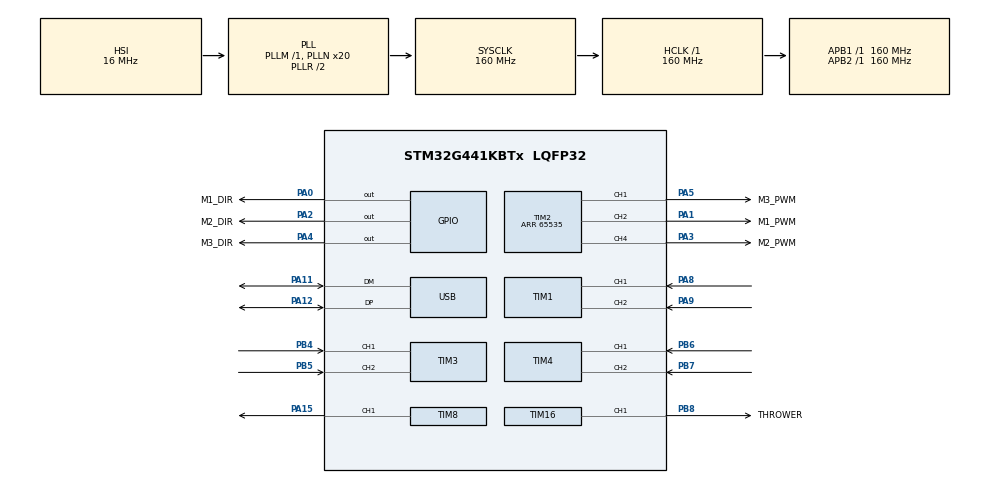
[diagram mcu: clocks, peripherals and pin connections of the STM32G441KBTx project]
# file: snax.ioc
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Dma.Request0=TIM8_CH1
Dma.TIM8_CH1.0.Direction=DMA_MEMORY_TO_PERIPH
Dma.TIM8_CH1.0.EventEnable=DISABLE
Dma.TIM8_CH1.0.Instance=DMA1_Channel1
Dma.TIM8_CH1.0.MemDataAlignment=DMA_MDATAALIGN_HALFWORD
Dma.TIM8_CH1.0.MemInc=DMA_MINC_ENABLE
Dma.TIM8_CH1.0.Mode=DMA_NORMAL
Dma.TIM8_CH1.0.PeriphDataAlignment=DMA_PDATAALIGN_HALFWORD
Dma.TIM8_CH1.0.PeriphInc=DMA_PINC_DISABLE
Dma.TIM8_CH1.0.Polarity=HAL_DMAMUX_REQ_GEN_RISING
Dma.TIM8_CH1.0.Priority=DMA_PRIORITY_LOW
Dma.TIM8_CH1.0.RequestNumber=1
Dma.TIM8_CH1.0.SignalID=NONE
Dma.TIM8_CH1.0.SyncEnable=DISABLE
Dma.TIM8_CH1.0.SyncPolarity=HAL_DMAMUX_SYNC_NO_EVENT
Dma.TIM8_CH1.0.SyncRequestNumber=1
Dma.TIM8_CH1.0.SyncSignalID=NONE
Mcu.Family=STM32G4
Mcu.Name=STM32G441KBTx
Mcu.Package=LQFP32
NVIC.DMA1_Channel1_IRQn=true\:0\:0\:false\:false\:true\:false\:true\:true
NVIC.PriorityGroup=NVIC_PRIORITYGROUP_4
NVIC.TIM6_DAC_IRQn=true\:0\:0\:false\:false\:true\:true\:true\:true
NVIC.USB_LP_IRQn=true\:0\:0\:false\:false\:true\:false\:true\:true
PA0.GPIO_Label=M1_DIR
PA0.Signal=GPIO_Output
PA1.GPIO_Label=M1_PWM
PA1.Signal=S_TIM2_CH2
PA11.Mode=Device
PA11.Signal=USB_DM
PA12.Mode=Device
PA12.Signal=USB_DP
PA13.Mode=Serial_Wire
PA13.Signal=SYS_JTMS-SWDIO
PA14.Mode=Serial_Wire
PA14.Signal=SYS_JTCK-SWCLK
PA15.Signal=S_TIM8_CH1
PA2.GPIO_Label=M2_DIR
PA2.Signal=GPIO_Output
PA3.GPIO_Label=M2_PWM
PA3.Signal=S_TIM2_CH4
PA4.GPIO_Label=M3_DIR
PA4.Signal=GPIO_Output
PA5.GPIO_Label=M3_PWM
PA5.Signal=S_TIM2_CH1
PA8.Signal=S_TIM1_CH1
PA9.Signal=S_TIM1_CH2
PB4.Signal=S_TIM3_CH1
PB5.Signal=S_TIM3_CH2
PB6.Signal=S_TIM4_CH1
PB7.Signal=S_TIM4_CH2
PB8-BOOT0.GPIO_Label=THROWER
PB8-BOOT0.Signal=S_TIM16_CH1
ProjectManager.HeapSize=0x200
ProjectManager.StackSize=0x400
ProjectManager.TargetToolchain=STM32CubeIDE
RCC.ADC12Freq_Value=160000000
RCC.AHBFreq_Value=160000000
RCC.APB1Freq_Value=160000000
RCC.APB1TimFreq_Value=160000000
RCC.APB2Freq_Value=160000000
RCC.APB2TimFreq_Value=160000000
RCC.CK48CLockSelection=RCC_USBCLKSOURCE_HSI48
RCC.CortexFreq_Value=160000000
RCC.EXTERNAL_CLOCK_VALUE=12288000
RCC.HCLKFreq_Value=160000000
RCC.HSE_VALUE=8000000
RCC.HSI48_VALUE=48000000
RCC.HSI_VALUE=16000000
RCC.LSE_VALUE=32768
RCC.PLLN=20
RCC.SYSCLKFreq_VALUE=160000000
RCC.SYSCLKSource=RCC_SYSCLKSOURCE_PLLCLK
RCC.USBFreq_Value=48000000
RCC.VCOOutputFreq_Value=320000000
SH.S_TIM16_CH1.0=TIM16_CH1,PWM Generation1 CH1
SH.S_TIM1_CH1.0=TIM1_CH1,Encoder_Interface
SH.S_TIM1_CH2.0=TIM1_CH2,Encoder_Interface
SH.S_TIM2_CH1.0=TIM2_CH1,PWM Generation1 CH1
SH.S_TIM2_CH2.0=TIM2_CH2,PWM Generation2 CH2
SH.S_TIM2_CH4.0=TIM2_CH4,PWM Generation4 CH4
SH.S_TIM3_CH1.0=TIM3_CH1,Encoder_Interface
SH.S_TIM3_CH2.0=TIM3_CH2,Encoder_Interface
SH.S_TIM4_CH1.0=TIM4_CH1,Encoder_Interface
SH.S_TIM4_CH2.0=TIM4_CH2,Encoder_Interface
SH.S_TIM8_CH1.0=TIM8_CH1,PWM Generation1 CH1
TIM1.EncoderMode=TIM_ENCODERMODE_TI12
TIM16.Channel=TIM_CHANNEL_1
TIM16.PeriodNoDither=39999
TIM16.Prescaler=79
TIM2.Channel-PWM\ Generation1\ CH1=TIM_CHANNEL_1
TIM2.Channel-PWM\ Generation2\ CH2=TIM_CHANNEL_2
TIM2.Channel-PWM\ Generation4\ CH4=TIM_CHANNEL_4
TIM2.PeriodNoDither=65535
TIM3.EncoderMode=TIM_ENCODERMODE_TI12
TIM4.EncoderMode=TIM_ENCODERMODE_TI12
TIM6.PeriodNoDither=63999
TIM6.Prescaler=24
TIM8.Channel-PWM\ Generation1\ CH1=TIM_CHANNEL_1
TIM8.OCIdleState_1=TIM_OCIDLESTATE_SET
TIM8.OCPolarity_1=TIM_OCPOLARITY_LOW
TIM8.PeriodNoDither=15999
USB_DEVICE.CLASS_NAME_FS=CDC
USB_DEVICE.VirtualMode=Cdc
USB_DEVICE.VirtualModeFS=Cdc_FS
VP_SYS_VS_DBSignals.Mode=DisableDeadBatterySignals
VP_TIM16_VS_ClockSourceINT.Mode=Enable_Timer
VP_TIM6_VS_ClockSourceINT.Mode=Enable_Timer
VP_USB_DEVICE_VS_USB_DEVICE_CDC_FS.Mode=CDC_FS
board=custom

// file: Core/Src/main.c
/* USER CODE BEGIN Header */
/**
  ******************************************************************************
  * @file           : main.c
  * @brief          : Main program body
  ******************************************************************************
  * @attention
  *
  * <h2><center>&copy; Copyright (c) 2022 STMicroelectronics.
  * All rights reserved.</center></h2>
  *
  * This software component is licensed by ST under BSD 3-Clause license,
  * the "License"; You may not use this file except in compliance with the
  * License. You may obtain a copy of the License at:
  *                        opensource.org/licenses/BSD-3-Clause
  *
  ******************************************************************************
  */
/* USER CODE END Header */
#include "main.h"
#include "usb_device.h"

/* USER CODE BEGIN Includes */
#include "usbd_cdc_if.h" // (1) Include usbd_cdc_if.h, where the CDC_On_Receive function was declared.
/* USER CODE END Includes */

TIM_HandleTypeDef htim1;
TIM_HandleTypeDef htim2;
TIM_HandleTypeDef htim3;
TIM_HandleTypeDef htim4;
TIM_HandleTypeDef htim6;
TIM_HandleTypeDef htim8;
TIM_HandleTypeDef htim16;
DMA_HandleTypeDef hdma_tim8_ch1;

void SystemClock_Config(void);
static void MX_GPIO_Init(void);
static void MX_DMA_Init(void);
static void MX_TIM1_Init(void);
static void MX_TIM3_Init(void);
static void MX_TIM4_Init(void);
static void MX_TIM2_Init(void);
static void MX_TIM16_Init(void);
static void MX_TIM6_Init(void);
static void MX_TIM8_Init(void);

/* USER CODE BEGIN 0 */
typedef struct Command { // (1) Define struct for received data.
  int16_t speed1;
  int16_t speed2;
  int16_t speed3;
  uint16_t throwerSpeed;
  uint16_t delimiter; // (2) Delimiter is used as a separator between packets of data. Preferably something that will never appear in the data should be used.
} Command;

typedef struct Feedback { // (3) Define struct for sending data. This can be omitted if there is no need for data from mainboard.
  int16_t speed1;
  int16_t speed2;
  int16_t speed3;
  uint16_t delimiter;

} Feedback;

typedef struct MotorControl {
	int16_t positionChange;
	int16_t position;
	int16_t gainP;
	int16_t gainI;
	int32_t integral;

} MotorControl;

MotorControl motorControl_1 = {.positionChange = 0, .position = 0, .gainP = 500, .gainI = 10, .integral = 0};
MotorControl motorControl_2 = {.positionChange = 0, .position = 0, .gainP = 500, .gainI = 10, .integral = 0};
MotorControl motorControl_3 = {.positionChange = 0, .position = 0, .gainP = 500, .gainI = 10, .integral = 0};

uint16_t nsleepPwmValues[2] = {4800, 0};

Command command = {.speed1 = 0, .speed2 = 0, .speed3 = 0, .throwerSpeed = 0, .delimiter = 0}; // (4) Instance of received data.
volatile uint8_t isCommandReceived = 0; // (5) Boolean (0/1) variable to signify that data has been received. Variable is marked volatile to prevent the compiler from removing it during optimisation.

void CDC_On_Receive(uint8_t* buffer, uint32_t* length) { // (6) Define the function that is called when data is received.
  if (*length == sizeof(Command)) { // (7) Check if received data has the same length as Command struct.
    memcpy(&command, buffer, sizeof(Command)); // (8) Copy received data to command instance.

    if (command.delimiter == 0xAAAA) { // (9) Check the delimiter as a validation of received data.
      isCommandReceived = 1;
    }
  }
}

int32_t clampValue(int32_t value, int32_t minValue, int32_t maxValue) {
	if (value < minValue) {
		return minValue;
	}
	if (value > maxValue) {
		return maxValue;
	}

	return value;
}

int32_t controlMotor(MotorControl* motorControl, int16_t position, int16_t setpoint) {
	motorControl->positionChange = position - motorControl->position;
	motorControl->position = position;
	int32_t error = setpoint - motorControl->positionChange;
	motorControl->integral += error;
	clampValue(motorControl->integral, -70000 / motorControl->gainI, 70000 / motorControl->gainI);

	return error * motorControl->gainP + motorControl->gainI * motorControl->integral;

}

void HAL_TIM_PeriodElapsedCallback(TIM_HandleTypeDef *htim) {
  // Motor control calculations can be called from here
	int32_t motorPwm_1 = clampValue(controlMotor(&motorControl_1, (int16_t)TIM4->CNT, command.speed1), -65535, 65535);
	int32_t motorPwm_2 = clampValue(controlMotor(&motorControl_2, (int16_t)TIM3->CNT, command.speed2), -65535, 65535);
	int32_t motorPwm_3 = clampValue(controlMotor(&motorControl_3, (int16_t)TIM1->CNT, command.speed3), -65535, 65535);

	if (motorPwm_1 < 0) {
		TIM2->CCR2 = -motorPwm_1;
		HAL_GPIO_WritePin(M1_DIR_GPIO_Port, M1_DIR_Pin, 0);
	} else {
		TIM2->CCR2 = motorPwm_1;
		HAL_GPIO_WritePin(M1_DIR_GPIO_Port, M1_DIR_Pin, 1);
	}

	if (motorPwm_2 < 0) {
		TIM2->CCR4 = -motorPwm_2;
		HAL_GPIO_WritePin(M2_DIR_GPIO_Port, M2_DIR_Pin, 0);
	} else {
		TIM2->CCR4 = motorPwm_2;
		HAL_GPIO_WritePin(M2_DIR_GPIO_Port, M2_DIR_Pin, 1);
	}

	if (motorPwm_3 < 0) {
		TIM2->CCR1 = -motorPwm_3;
		HAL_GPIO_WritePin(M3_DIR_GPIO_Port, M3_DIR_Pin, 0);
	} else {
		TIM2->CCR1 = motorPwm_3;
		HAL_GPIO_WritePin(M3_DIR_GPIO_Port, M3_DIR_Pin, 1);
	}
}

void enableMotorDrivers(){
	  HAL_TIM_PWM_Start_DMA(&htim8, TIM_CHANNEL_1, nsleepPwmValues, 2);

}

/* USER CODE END 0 */

int main(void)
{

  /* MCU Configuration--------------------------------------------------------*/

  /* Reset of all peripherals, Initializes the Flash interface and the Systick. */
  HAL_Init();

  /* Configure the system clock */
  SystemClock_Config();

  /* Initialize all configured peripherals */
  MX_GPIO_Init();
  MX_DMA_Init();
  MX_USB_Device_Init();
  MX_TIM1_Init();
  MX_TIM3_Init();
  MX_TIM4_Init();
  MX_TIM2_Init();
  MX_TIM16_Init();
  MX_TIM6_Init();
  MX_TIM8_Init();
  /* USER CODE BEGIN 2 */
  Feedback feedback = { // (1)
        .speed1 = 0,
        .speed2 = 0,
        .speed3 = 0,
        .delimiter = 0xAAAA
    };

// TIMER
  HAL_TIM_Encoder_Start(&htim1, TIM_CHANNEL_1 | TIM_CHANNEL_2);
  HAL_TIM_Encoder_Start(&htim3, TIM_CHANNEL_1 | TIM_CHANNEL_2);
  HAL_TIM_Encoder_Start(&htim4, TIM_CHANNEL_1 | TIM_CHANNEL_2);

// PWM
  HAL_TIM_PWM_Start(&htim2, TIM_CHANNEL_1);
  HAL_TIM_PWM_Start(&htim2, TIM_CHANNEL_2);
  HAL_TIM_PWM_Start(&htim2, TIM_CHANNEL_4);
  HAL_TIM_PWM_Start(&htim16, TIM_CHANNEL_1);

  HAL_TIM_Base_Start_IT(&htim6);
  enableMotorDrivers();

  TIM16->CCR1 = 1800;
  /* USER CODE END 2 */

  /* Infinite loop */
  while (1)
  {

    /* USER CODE BEGIN 3 */
	  if (isCommandReceived) { // (2)
	        isCommandReceived = 0;

	        enableMotorDrivers();

	        feedback.speed1 = motorControl_1.positionChange; // (4)
			feedback.speed2 = motorControl_2.positionChange;
			feedback.speed3 = motorControl_3.positionChange;

			TIM16->CCR1 = command.throwerSpeed;

	        CDC_Transmit_FS((uint8_t*)&feedback, (uint16_t)sizeof(feedback)); // (5)
	      }
	  //enableMotorDrivers();
	  //HAL_Delay(100);

  }
  /* USER CODE END 3 */
}

void SystemClock_Config(void)
{
  RCC_OscInitTypeDef RCC_OscInitStruct = {0};
  RCC_ClkInitTypeDef RCC_ClkInitStruct = {0};
  RCC_PeriphCLKInitTypeDef PeriphClkInit = {0};

  /** Configure the main internal regulator output voltage
  */
  HAL_PWREx_ControlVoltageScaling(PWR_REGULATOR_VOLTAGE_SCALE1_BOOST);
  /** Initializes the RCC Oscillators according to the specified parameters
  * in the RCC_OscInitTypeDef structure.
  */
  RCC_OscInitStruct.OscillatorType = RCC_OSCILLATORTYPE_HSI|RCC_OSCILLATORTYPE_HSI48;
  RCC_OscInitStruct.HSIState = RCC_HSI_ON;
  RCC_OscInitStruct.HSICalibrationValue = RCC_HSICALIBRATION_DEFAULT;
  RCC_OscInitStruct.HSI48State = RCC_HSI48_ON;
  RCC_OscInitStruct.PLL.PLLState = RCC_PLL_ON;
  RCC_OscInitStruct.PLL.PLLSource = RCC_PLLSOURCE_HSI;
  RCC_OscInitStruct.PLL.PLLM = RCC_PLLM_DIV1;
  RCC_OscInitStruct.PLL.PLLN = 20;
  RCC_OscInitStruct.PLL.PLLP = RCC_PLLP_DIV2;
  RCC_OscInitStruct.PLL.PLLQ = RCC_PLLQ_DIV2;
  RCC_OscInitStruct.PLL.PLLR = RCC_PLLR_DIV2;
  if (HAL_RCC_OscConfig(&RCC_OscInitStruct) != HAL_OK)
  {
    Error_Handler();
  }
  /** Initializes the CPU, AHB and APB buses clocks
  */
  RCC_ClkInitStruct.ClockType = RCC_CLOCKTYPE_HCLK|RCC_CLOCKTYPE_SYSCLK
                              |RCC_CLOCKTYPE_PCLK1|RCC_CLOCKTYPE_PCLK2;
  RCC_ClkInitStruct.SYSCLKSource = RCC_SYSCLKSOURCE_PLLCLK;
  RCC_ClkInitStruct.AHBCLKDivider = RCC_SYSCLK_DIV1;
  RCC_ClkInitStruct.APB1CLKDivider = RCC_HCLK_DIV1;
  RCC_ClkInitStruct.APB2CLKDivider = RCC_HCLK_DIV1;

  if (HAL_RCC_ClockConfig(&RCC_ClkInitStruct, FLASH_LATENCY_4) != HAL_OK)
  {
    Error_Handler();
  }
  /** Initializes the peripherals clocks
  */
  PeriphClkInit.PeriphClockSelection = RCC_PERIPHCLK_USB;
  PeriphClkInit.UsbClockSelection = RCC_USBCLKSOURCE_HSI48;
  if (HAL_RCCEx_PeriphCLKConfig(&PeriphClkInit) != HAL_OK)
  {
    Error_Handler();
  }
}

static void MX_TIM1_Init(void)
{

  TIM_Encoder_InitTypeDef sConfig = {0};
  TIM_MasterConfigTypeDef sMasterConfig = {0};

  htim1.Instance = TIM1;
  htim1.Init.Prescaler = 0;
  htim1.Init.CounterMode = TIM_COUNTERMODE_UP;
  htim1.Init.Period = 65535;
  htim1.Init.ClockDivision = TIM_CLOCKDIVISION_DIV1;
  htim1.Init.RepetitionCounter = 0;
  htim1.Init.AutoReloadPreload = TIM_AUTORELOAD_PRELOAD_DISABLE;
  sConfig.EncoderMode = TIM_ENCODERMODE_TI12;
  sConfig.IC1Polarity = TIM_ICPOLARITY_RISING;
  sConfig.IC1Selection = TIM_ICSELECTION_DIRECTTI;
  sConfig.IC1Prescaler = TIM_ICPSC_DIV1;
  sConfig.IC1Filter = 0;
  sConfig.IC2Polarity = TIM_ICPOLARITY_RISING;
  sConfig.IC2Selection = TIM_ICSELECTION_DIRECTTI;
  sConfig.IC2Prescaler = TIM_ICPSC_DIV1;
  sConfig.IC2Filter = 0;
  if (HAL_TIM_Encoder_Init(&htim1, &sConfig) != HAL_OK)
  {
    Error_Handler();
  }
  sMasterConfig.MasterOutputTrigger = TIM_TRGO_RESET;
  sMasterConfig.MasterOutputTrigger2 = TIM_TRGO2_RESET;
  sMasterConfig.MasterSlaveMode = TIM_MASTERSLAVEMODE_DISABLE;
  if (HAL_TIMEx_MasterConfigSynchronization(&htim1, &sMasterConfig) != HAL_OK)
  {
    Error_Handler();
  }

}

static void MX_TIM2_Init(void)
{

  TIM_MasterConfigTypeDef sMasterConfig = {0};
  TIM_OC_InitTypeDef sConfigOC = {0};

  htim2.Instance = TIM2;
  htim2.Init.Prescaler = 0;
  htim2.Init.CounterMode = TIM_COUNTERMODE_UP;
  htim2.Init.Period = 65535;
  htim2.Init.ClockDivision = TIM_CLOCKDIVISION_DIV1;
  htim2.Init.AutoReloadPreload = TIM_AUTORELOAD_PRELOAD_DISABLE;
  if (HAL_TIM_PWM_Init(&htim2) != HAL_OK)
  {
    Error_Handler();
  }
  sMasterConfig.MasterOutputTrigger = TIM_TRGO_RESET;
  sMasterConfig.MasterSlaveMode = TIM_MASTERSLAVEMODE_DISABLE;
  if (HAL_TIMEx_MasterConfigSynchronization(&htim2, &sMasterConfig) != HAL_OK)
  {
    Error_Handler();
  }
  sConfigOC.OCMode = TIM_OCMODE_PWM1;
  sConfigOC.Pulse = 0;
  sConfigOC.OCPolarity = TIM_OCPOLARITY_HIGH;
  sConfigOC.OCFastMode = TIM_OCFAST_DISABLE;
  if (HAL_TIM_PWM_ConfigChannel(&htim2, &sConfigOC, TIM_CHANNEL_1) != HAL_OK)
  {
    Error_Handler();
  }
  if (HAL_TIM_PWM_ConfigChannel(&htim2, &sConfigOC, TIM_CHANNEL_2) != HAL_OK)
  {
    Error_Handler();
  }
  if (HAL_TIM_PWM_ConfigChannel(&htim2, &sConfigOC, TIM_CHANNEL_4) != HAL_OK)
  {
    Error_Handler();
  }
  HAL_TIM_MspPostInit(&htim2);

}

static void MX_TIM3_Init(void)
{

  TIM_Encoder_InitTypeDef sConfig = {0};
  TIM_MasterConfigTypeDef sMasterConfig = {0};

  htim3.Instance = TIM3;
  htim3.Init.Prescaler = 0;
  htim3.Init.CounterMode = TIM_COUNTERMODE_UP;
  htim3.Init.Period = 65535;
  htim3.Init.ClockDivision = TIM_CLOCKDIVISION_DIV1;
  htim3.Init.AutoReloadPreload = TIM_AUTORELOAD_PRELOAD_DISABLE;
  sConfig.EncoderMode = TIM_ENCODERMODE_TI12;
  sConfig.IC1Polarity = TIM_ICPOLARITY_RISING;
  sConfig.IC1Selection = TIM_ICSELECTION_DIRECTTI;
  sConfig.IC1Prescaler = TIM_ICPSC_DIV1;
  sConfig.IC1Filter = 0;
  sConfig.IC2Polarity = TIM_ICPOLARITY_RISING;
  sConfig.IC2Selection = TIM_ICSELECTION_DIRECTTI;
  sConfig.IC2Prescaler = TIM_ICPSC_DIV1;
  sConfig.IC2Filter = 0;
  if (HAL_TIM_Encoder_Init(&htim3, &sConfig) != HAL_OK)
  {
    Error_Handler();
  }
  sMasterConfig.MasterOutputTrigger = TIM_TRGO_RESET;
  sMasterConfig.MasterSlaveMode = TIM_MASTERSLAVEMODE_DISABLE;
  if (HAL_TIMEx_MasterConfigSynchronization(&htim3, &sMasterConfig) != HAL_OK)
  {
    Error_Handler();
  }

}

static void MX_TIM4_Init(void)
{

  TIM_Encoder_InitTypeDef sConfig = {0};
  TIM_MasterConfigTypeDef sMasterConfig = {0};

  htim4.Instance = TIM4;
  htim4.Init.Prescaler = 0;
  htim4.Init.CounterMode = TIM_COUNTERMODE_UP;
  htim4.Init.Period = 65535;
  htim4.Init.ClockDivision = TIM_CLOCKDIVISION_DIV1;
  htim4.Init.AutoReloadPreload = TIM_AUTORELOAD_PRELOAD_DISABLE;
  sConfig.EncoderMode = TIM_ENCODERMODE_TI12;
  sConfig.IC1Polarity = TIM_ICPOLARITY_RISING;
  sConfig.IC1Selection = TIM_ICSELECTION_DIRECTTI;
  sConfig.IC1Prescaler = TIM_ICPSC_DIV1;
  sConfig.IC1Filter = 0;
  sConfig.IC2Polarity = TIM_ICPOLARITY_RISING;
  sConfig.IC2Selection = TIM_ICSELECTION_DIRECTTI;
  sConfig.IC2Prescaler = TIM_ICPSC_DIV1;
  sConfig.IC2Filter = 0;
  if (HAL_TIM_Encoder_Init(&htim4, &sConfig) != HAL_OK)
  {
    Error_Handler();
  }
  sMasterConfig.MasterOutputTrigger = TIM_TRGO_RESET;
  sMasterConfig.MasterSlaveMode = TIM_MASTERSLAVEMODE_DISABLE;
  if (HAL_TIMEx_MasterConfigSynchronization(&htim4, &sMasterConfig) != HAL_OK)
  {
    Error_Handler();
  }

}

static void MX_TIM6_Init(void)
{

  TIM_MasterConfigTypeDef sMasterConfig = {0};

  htim6.Instance = TIM6;
  htim6.Init.Prescaler = 24;
  htim6.Init.CounterMode = TIM_COUNTERMODE_UP;
  htim6.Init.Period = 63999;
  htim6.Init.AutoReloadPreload = TIM_AUTORELOAD_PRELOAD_DISABLE;
  if (HAL_TIM_Base_Init(&htim6) != HAL_OK)
  {
    Error_Handler();
  }
  sMasterConfig.MasterOutputTrigger = TIM_TRGO_RESET;
  sMasterConfig.MasterSlaveMode = TIM_MASTERSLAVEMODE_DISABLE;
  if (HAL_TIMEx_MasterConfigSynchronization(&htim6, &sMasterConfig) != HAL_OK)
  {
    Error_Handler();
  }

}

static void MX_TIM8_Init(void)
{

  TIM_MasterConfigTypeDef sMasterConfig = {0};
  TIM_OC_InitTypeDef sConfigOC = {0};
  TIM_BreakDeadTimeConfigTypeDef sBreakDeadTimeConfig = {0};

  htim8.Instance = TIM8;
  htim8.Init.Prescaler = 0;
  htim8.Init.CounterMode = TIM_COUNTERMODE_UP;
  htim8.Init.Period = 15999;
  htim8.Init.ClockDivision = TIM_CLOCKDIVISION_DIV1;
  htim8.Init.RepetitionCounter = 0;
  htim8.Init.AutoReloadPreload = TIM_AUTORELOAD_PRELOAD_DISABLE;
  if (HAL_TIM_PWM_Init(&htim8) != HAL_OK)
  {
    Error_Handler();
  }
  sMasterConfig.MasterOutputTrigger = TIM_TRGO_RESET;
  sMasterConfig.MasterOutputTrigger2 = TIM_TRGO2_RESET;
  sMasterConfig.MasterSlaveMode = TIM_MASTERSLAVEMODE_DISABLE;
  if (HAL_TIMEx_MasterConfigSynchronization(&htim8, &sMasterConfig) != HAL_OK)
  {
    Error_Handler();
  }
  sConfigOC.OCMode = TIM_OCMODE_PWM1;
  sConfigOC.Pulse = 0;
  sConfigOC.OCPolarity = TIM_OCPOLARITY_LOW;
  sConfigOC.OCNPolarity = TIM_OCNPOLARITY_HIGH;
  sConfigOC.OCFastMode = TIM_OCFAST_DISABLE;
  sConfigOC.OCIdleState = TIM_OCIDLESTATE_SET;
  sConfigOC.OCNIdleState = TIM_OCNIDLESTATE_RESET;
  if (HAL_TIM_PWM_ConfigChannel(&htim8, &sConfigOC, TIM_CHANNEL_1) != HAL_OK)
  {
    Error_Handler();
  }
  sBreakDeadTimeConfig.OffStateRunMode = TIM_OSSR_DISABLE;
  sBreakDeadTimeConfig.OffStateIDLEMode = TIM_OSSI_DISABLE;
  sBreakDeadTimeConfig.LockLevel = TIM_LOCKLEVEL_OFF;
  sBreakDeadTimeConfig.DeadTime = 0;
  sBreakDeadTimeConfig.BreakState = TIM_BREAK_DISABLE;
  sBreakDeadTimeConfig.BreakPolarity = TIM_BREAKPOLARITY_HIGH;
  sBreakDeadTimeConfig.BreakFilter = 0;
  sBreakDeadTimeConfig.BreakAFMode = TIM_BREAK_AFMODE_INPUT;
  sBreakDeadTimeConfig.Break2State = TIM_BREAK2_DISABLE;
  sBreakDeadTimeConfig.Break2Polarity = TIM_BREAK2POLARITY_HIGH;
  sBreakDeadTimeConfig.Break2Filter = 0;
  sBreakDeadTimeConfig.Break2AFMode = TIM_BREAK_AFMODE_INPUT;
  sBreakDeadTimeConfig.AutomaticOutput = TIM_AUTOMATICOUTPUT_DISABLE;
  if (HAL_TIMEx_ConfigBreakDeadTime(&htim8, &sBreakDeadTimeConfig) != HAL_OK)
  {
    Error_Handler();
  }
  HAL_TIM_MspPostInit(&htim8);

}

static void MX_TIM16_Init(void)
{

  TIM_OC_InitTypeDef sConfigOC = {0};
  TIM_BreakDeadTimeConfigTypeDef sBreakDeadTimeConfig = {0};

  htim16.Instance = TIM16;
  htim16.Init.Prescaler = 79;
  htim16.Init.CounterMode = TIM_COUNTERMODE_UP;
  htim16.Init.Period = 39999;
  htim16.Init.ClockDivision = TIM_CLOCKDIVISION_DIV1;
  htim16.Init.RepetitionCounter = 0;
  htim16.Init.AutoReloadPreload = TIM_AUTORELOAD_PRELOAD_DISABLE;
  if (HAL_TIM_Base_Init(&htim16) != HAL_OK)
  {
    Error_Handler();
  }
  if (HAL_TIM_PWM_Init(&htim16) != HAL_OK)
  {
    Error_Handler();
  }
  sConfigOC.OCMode = TIM_OCMODE_PWM1;
  sConfigOC.Pulse = 0;
  sConfigOC.OCPolarity = TIM_OCPOLARITY_HIGH;
  sConfigOC.OCNPolarity = TIM_OCNPOLARITY_HIGH;
  sConfigOC.OCFastMode = TIM_OCFAST_DISABLE;
  sConfigOC.OCIdleState = TIM_OCIDLESTATE_RESET;
  sConfigOC.OCNIdleState = TIM_OCNIDLESTATE_RESET;
  if (HAL_TIM_PWM_ConfigChannel(&htim16, &sConfigOC, TIM_CHANNEL_1) != HAL_OK)
  {
    Error_Handler();
  }
  sBreakDeadTimeConfig.OffStateRunMode = TIM_OSSR_DISABLE;
  sBreakDeadTimeConfig.OffStateIDLEMode = TIM_OSSI_DISABLE;
  sBreakDeadTimeConfig.LockLevel = TIM_LOCKLEVEL_OFF;
  sBreakDeadTimeConfig.DeadTime = 0;
  sBreakDeadTimeConfig.BreakState = TIM_BREAK_DISABLE;
  sBreakDeadTimeConfig.BreakPolarity = TIM_BREAKPOLARITY_HIGH;
  sBreakDeadTimeConfig.BreakFilter = 0;
  sBreakDeadTimeConfig.AutomaticOutput = TIM_AUTOMATICOUTPUT_DISABLE;
  if (HAL_TIMEx_ConfigBreakDeadTime(&htim16, &sBreakDeadTimeConfig) != HAL_OK)
  {
    Error_Handler();
  }
  HAL_TIM_MspPostInit(&htim16);

}

static void MX_DMA_Init(void)
{

  /* DMA controller clock enable */
  __HAL_RCC_DMAMUX1_CLK_ENABLE();
  __HAL_RCC_DMA1_CLK_ENABLE();

  /* DMA interrupt init */
  /* DMA1_Channel1_IRQn interrupt configuration */
  HAL_NVIC_SetPriority(DMA1_Channel1_IRQn, 0, 0);
  HAL_NVIC_EnableIRQ(DMA1_Channel1_IRQn);

}

static void MX_GPIO_Init(void)
{
  GPIO_InitTypeDef GPIO_InitStruct = {0};

  /* GPIO Ports Clock Enable */
  __HAL_RCC_GPIOA_CLK_ENABLE();
  __HAL_RCC_GPIOB_CLK_ENABLE();

  /*Configure GPIO pin Output Level */
  HAL_GPIO_WritePin(GPIOA, M1_DIR_Pin|M2_DIR_Pin|M3_DIR_Pin, GPIO_PIN_RESET);

  /*Configure GPIO pins : M1_DIR_Pin M2_DIR_Pin M3_DIR_Pin */
  GPIO_InitStruct.Pin = M1_DIR_Pin|M2_DIR_Pin|M3_DIR_Pin;
  GPIO_InitStruct.Mode = GPIO_MODE_OUTPUT_PP;
  GPIO_InitStruct.Pull = GPIO_NOPULL;
  GPIO_InitStruct.Speed = GPIO_SPEED_FREQ_LOW;
  HAL_GPIO_Init(GPIOA, &GPIO_InitStruct);

}

void Error_Handler(void)
{
  __disable_irq();
  while (1)
  {
  }
}

/************************ (C) COPYRIGHT STMicroelectronics *****END OF FILE****/
